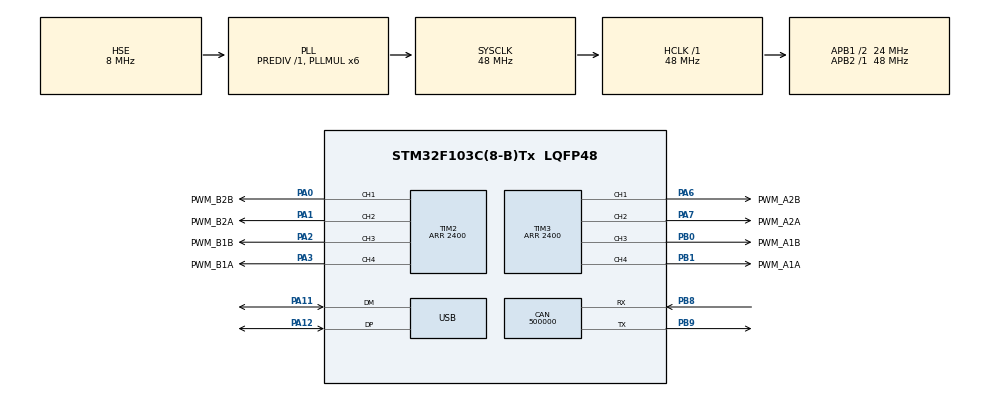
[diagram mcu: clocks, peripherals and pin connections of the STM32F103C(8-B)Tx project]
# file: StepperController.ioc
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CAN.CalculateBaudRate=500000
CAN.CalculateTimeBit=2000
CAN.CalculateTimeQuantum=666.6666666666666
Mcu.Family=STM32F1
Mcu.Name=STM32F103C(8-B)Tx
Mcu.Package=LQFP48
NVIC.PriorityGroup=NVIC_PRIORITYGROUP_4
NVIC.USB_LP_CAN1_RX0_IRQn=true\:0\:0\:false\:false\:true\:false\:true\:true
PA0-WKUP.GPIO_Label=PWM_B2B
PA0-WKUP.Signal=S_TIM2_CH1_ETR
PA1.GPIO_Label=PWM_B2A
PA1.Signal=S_TIM2_CH2
PA11.Mode=Device
PA11.Signal=USB_DM
PA12.Mode=Device
PA12.Signal=USB_DP
PA13.Mode=Serial_Wire
PA13.Signal=SYS_JTMS-SWDIO
PA14.Mode=Serial_Wire
PA14.Signal=SYS_JTCK-SWCLK
PA2.GPIO_Label=PWM_B1B
PA2.Signal=S_TIM2_CH3
PA3.GPIO_Label=PWM_B1A
PA3.Signal=S_TIM2_CH4
PA6.GPIO_Label=PWM_A2B
PA6.Signal=S_TIM3_CH1
PA7.GPIO_Label=PWM_A2A
PA7.Signal=S_TIM3_CH2
PB0.GPIO_Label=PWM_A1B
PB0.Signal=S_TIM3_CH3
PB1.GPIO_Label=PWM_A1A
PB1.Signal=S_TIM3_CH4
PB8.Mode=CAN_Activate
PB8.Signal=CAN_RX
PB9.Mode=CAN_Activate
PB9.Signal=CAN_TX
PD0-OSC_IN.Mode=HSE-External-Oscillator
PD0-OSC_IN.Signal=RCC_OSC_IN
PD1-OSC_OUT.Mode=HSE-External-Oscillator
PD1-OSC_OUT.Signal=RCC_OSC_OUT
ProjectManager.HeapSize=0x200
ProjectManager.StackSize=0x400
ProjectManager.TargetToolchain=STM32CubeIDE
RCC.AHBFreq_Value=48000000
RCC.APB1CLKDivider=RCC_HCLK_DIV2
RCC.APB1Freq_Value=24000000
RCC.APB1TimFreq_Value=48000000
RCC.APB2Freq_Value=48000000
RCC.APB2TimFreq_Value=48000000
RCC.HCLKFreq_Value=48000000
RCC.PLLMUL=RCC_PLL_MUL6
RCC.SYSCLKFreq_VALUE=48000000
RCC.SYSCLKSource=RCC_SYSCLKSOURCE_PLLCLK
RCC.USBFreq_Value=48000000
SH.S_TIM2_CH1_ETR.0=TIM2_CH1,PWM Generation1 CH1
SH.S_TIM2_CH2.0=TIM2_CH2,PWM Generation2 CH2
SH.S_TIM2_CH3.0=TIM2_CH3,PWM Generation3 CH3
SH.S_TIM2_CH4.0=TIM2_CH4,PWM Generation4 CH4
SH.S_TIM3_CH1.0=TIM3_CH1,PWM Generation1 CH1
SH.S_TIM3_CH2.0=TIM3_CH2,PWM Generation2 CH2
SH.S_TIM3_CH3.0=TIM3_CH3,PWM Generation3 CH3
SH.S_TIM3_CH4.0=TIM3_CH4,PWM Generation4 CH4
TIM2.Channel-PWM\ Generation1\ CH1=TIM_CHANNEL_1
TIM2.Channel-PWM\ Generation2\ CH2=TIM_CHANNEL_2
TIM2.Channel-PWM\ Generation3\ CH3=TIM_CHANNEL_3
TIM2.Channel-PWM\ Generation4\ CH4=TIM_CHANNEL_4
TIM2.Period=2400
TIM3.Channel-PWM\ Generation1\ CH1=TIM_CHANNEL_1
TIM3.Channel-PWM\ Generation2\ CH2=TIM_CHANNEL_2
TIM3.Channel-PWM\ Generation3\ CH3=TIM_CHANNEL_3
TIM3.Channel-PWM\ Generation4\ CH4=TIM_CHANNEL_4
TIM3.Period=2400
USB_DEVICE.CLASS_NAME_FS=CDC
USB_DEVICE.USBD_DEBUG_LEVEL=0
USB_DEVICE.USBD_SELF_POWERED=1
USB_DEVICE.VirtualMode=Cdc
USB_DEVICE.VirtualModeFS=Cdc_FS
VP_TIM2_VS_ClockSourceINT.Mode=Internal
VP_TIM3_VS_ClockSourceINT.Mode=Internal
VP_USB_DEVICE_VS_USB_DEVICE_CDC_FS.Mode=CDC_FS
board=custom

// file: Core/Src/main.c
/* USER CODE BEGIN Header */
/**
  ******************************************************************************
  * @file           : main.c
  * @brief          : Main program body
  ******************************************************************************
  * @attention
  *
  * Copyright (c) 2024 STMicroelectronics.
  * All rights reserved.
  *
  * This software is licensed under terms that can be found in the LICENSE file
  * in the root directory of this software component.
  * If no LICENSE file comes with this software, it is provided AS-IS.
  *
  ******************************************************************************
  */
/* USER CODE END Header */
#include "main.h"
#include "usb_device.h"

/* USER CODE BEGIN Includes */
#include "string.h"
#include "usbd_cdc_if.h"
/* USER CODE END Includes */

/* USER CODE BEGIN PD */
//This value is so we don't burn out the stepper with current (V=IR)

/* USER CODE END PD */

CAN_HandleTypeDef hcan;

TIM_HandleTypeDef htim2;
TIM_HandleTypeDef htim3;

/* USER CODE BEGIN PV */
const uint16_t DUTY_CYCLE=1800;
uint8_t phase=1;
signed int position = 0;
/* USER CODE END PV */

void SystemClock_Config(void);
static void MX_GPIO_Init(void);
static void MX_CAN_Init(void);
static void MX_TIM2_Init(void);
static void MX_TIM3_Init(void);
/* USER CODE BEGIN PFP */
void set_pwm(uint8_t coil, uint8_t channel, uint16_t duty_cycle);
void user_pwm_init();
void stop_motor();
void set_phase(uint8_t this_phase);
void fs_right();
void fs_left();
void fs_right_deg(uint16_t degrees);
void fs_left_deg(uint16_t degrees);
void zero_pos();
/* USER CODE END PFP */

int main(void)
{

  /* MCU Configuration--------------------------------------------------------*/

  /* Reset of all peripherals, Initializes the Flash interface and the Systick. */
  HAL_Init();

  /* Configure the system clock */
  SystemClock_Config();

  /* Initialize all configured peripherals */
  MX_GPIO_Init();
  MX_CAN_Init();
  MX_TIM2_Init();
  MX_TIM3_Init();
  MX_USB_DEVICE_Init();
  /* USER CODE BEGIN 2 */
  //Set up all PWM timers and set all duty cycles to 0
  user_pwm_init();
  stop_motor();

//  vcp_init(); //https://nefastor.com/microcontrollers/stm32/usb/stm32cube-usb-device-library/cdc-continued/
  uint8_t buf[1000];
  uint8_t done[1]={0xFF};
  int len=0;
  /* USER CODE END 2 */

  /* Infinite loop */
  /* USER CODE BEGIN WHILE */
  while (1)
  {

//	 CDC_Transmit_FS((uint8_t*)buf, strlen(buf));
//	 len = 0;
//	 while (len<=0){
//		 len = vcp_recv (buf, 1000);  // Read up to 1000 bytes
//		 if (buf[0]==0){
//			 fs_right_deg(buf[1]);
//		 }
//		 else if (buf[0]==1){
//			 fs_right_deg(buf[1]);
//		 }
//	  	 len = vcp_send (done, sizeof(char));
//
//	 }
	 HAL_Delay(500);
	 fs_right();
//	 HAL_Delay(500);
//	 fs_right_deg(90);
//	 HAL_Delay(500);
//	 zero_pos();
//	 HAL_Delay(500);
//	 fs_left_deg(90);
//	 HAL_Delay(500);
//	 fs_right_deg(270);
//	 HAL_Delay(500);
//	 fs_right_deg(90);
//	 HAL_Delay(500);
//	 zero_pos();
//	 HAL_Delay(5000);

    /* USER CODE END WHILE */

  }
}

void SystemClock_Config(void)
{
  RCC_OscInitTypeDef RCC_OscInitStruct = {0};
  RCC_ClkInitTypeDef RCC_ClkInitStruct = {0};
  RCC_PeriphCLKInitTypeDef PeriphClkInit = {0};

  /** Initializes the RCC Oscillators according to the specified parameters
  * in the RCC_OscInitTypeDef structure.
  */
  RCC_OscInitStruct.OscillatorType = RCC_OSCILLATORTYPE_HSE;
  RCC_OscInitStruct.HSEState = RCC_HSE_ON;
  RCC_OscInitStruct.HSEPredivValue = RCC_HSE_PREDIV_DIV1;
  RCC_OscInitStruct.HSIState = RCC_HSI_ON;
  RCC_OscInitStruct.PLL.PLLState = RCC_PLL_ON;
  RCC_OscInitStruct.PLL.PLLSource = RCC_PLLSOURCE_HSE;
  RCC_OscInitStruct.PLL.PLLMUL = RCC_PLL_MUL6;
  if (HAL_RCC_OscConfig(&RCC_OscInitStruct) != HAL_OK)
  {
    Error_Handler();
  }

  /** Initializes the CPU, AHB and APB buses clocks
  */
  RCC_ClkInitStruct.ClockType = RCC_CLOCKTYPE_HCLK|RCC_CLOCKTYPE_SYSCLK
                              |RCC_CLOCKTYPE_PCLK1|RCC_CLOCKTYPE_PCLK2;
  RCC_ClkInitStruct.SYSCLKSource = RCC_SYSCLKSOURCE_PLLCLK;
  RCC_ClkInitStruct.AHBCLKDivider = RCC_SYSCLK_DIV1;
  RCC_ClkInitStruct.APB1CLKDivider = RCC_HCLK_DIV2;
  RCC_ClkInitStruct.APB2CLKDivider = RCC_HCLK_DIV1;

  if (HAL_RCC_ClockConfig(&RCC_ClkInitStruct, FLASH_LATENCY_1) != HAL_OK)
  {
    Error_Handler();
  }
  PeriphClkInit.PeriphClockSelection = RCC_PERIPHCLK_USB;
  PeriphClkInit.UsbClockSelection = RCC_USBCLKSOURCE_PLL;
  if (HAL_RCCEx_PeriphCLKConfig(&PeriphClkInit) != HAL_OK)
  {
    Error_Handler();
  }
}

static void MX_CAN_Init(void)
{

  hcan.Instance = CAN1;
  hcan.Init.Prescaler = 16;
  hcan.Init.Mode = CAN_MODE_NORMAL;
  hcan.Init.SyncJumpWidth = CAN_SJW_1TQ;
  hcan.Init.TimeSeg1 = CAN_BS1_1TQ;
  hcan.Init.TimeSeg2 = CAN_BS2_1TQ;
  hcan.Init.TimeTriggeredMode = DISABLE;
  hcan.Init.AutoBusOff = DISABLE;
  hcan.Init.AutoWakeUp = DISABLE;
  hcan.Init.AutoRetransmission = DISABLE;
  hcan.Init.ReceiveFifoLocked = DISABLE;
  hcan.Init.TransmitFifoPriority = DISABLE;
  if (HAL_CAN_Init(&hcan) != HAL_OK)
  {
    Error_Handler();
  }

}

static void MX_TIM2_Init(void)
{

  TIM_ClockConfigTypeDef sClockSourceConfig = {0};
  TIM_MasterConfigTypeDef sMasterConfig = {0};
  TIM_OC_InitTypeDef sConfigOC = {0};

  htim2.Instance = TIM2;
  htim2.Init.Prescaler = 0;
  htim2.Init.CounterMode = TIM_COUNTERMODE_UP;
  htim2.Init.Period = 2400;
  htim2.Init.ClockDivision = TIM_CLOCKDIVISION_DIV1;
  htim2.Init.AutoReloadPreload = TIM_AUTORELOAD_PRELOAD_DISABLE;
  if (HAL_TIM_Base_Init(&htim2) != HAL_OK)
  {
    Error_Handler();
  }
  sClockSourceConfig.ClockSource = TIM_CLOCKSOURCE_INTERNAL;
  if (HAL_TIM_ConfigClockSource(&htim2, &sClockSourceConfig) != HAL_OK)
  {
    Error_Handler();
  }
  if (HAL_TIM_PWM_Init(&htim2) != HAL_OK)
  {
    Error_Handler();
  }
  sMasterConfig.MasterOutputTrigger = TIM_TRGO_RESET;
  sMasterConfig.MasterSlaveMode = TIM_MASTERSLAVEMODE_DISABLE;
  if (HAL_TIMEx_MasterConfigSynchronization(&htim2, &sMasterConfig) != HAL_OK)
  {
    Error_Handler();
  }
  sConfigOC.OCMode = TIM_OCMODE_PWM1;
  sConfigOC.Pulse = 0;
  sConfigOC.OCPolarity = TIM_OCPOLARITY_HIGH;
  sConfigOC.OCFastMode = TIM_OCFAST_DISABLE;
  if (HAL_TIM_PWM_ConfigChannel(&htim2, &sConfigOC, TIM_CHANNEL_1) != HAL_OK)
  {
    Error_Handler();
  }
  if (HAL_TIM_PWM_ConfigChannel(&htim2, &sConfigOC, TIM_CHANNEL_2) != HAL_OK)
  {
    Error_Handler();
  }
  if (HAL_TIM_PWM_ConfigChannel(&htim2, &sConfigOC, TIM_CHANNEL_3) != HAL_OK)
  {
    Error_Handler();
  }
  if (HAL_TIM_PWM_ConfigChannel(&htim2, &sConfigOC, TIM_CHANNEL_4) != HAL_OK)
  {
    Error_Handler();
  }
  HAL_TIM_MspPostInit(&htim2);

}

static void MX_TIM3_Init(void)
{

  TIM_ClockConfigTypeDef sClockSourceConfig = {0};
  TIM_MasterConfigTypeDef sMasterConfig = {0};
  TIM_OC_InitTypeDef sConfigOC = {0};

  htim3.Instance = TIM3;
  htim3.Init.Prescaler = 0;
  htim3.Init.CounterMode = TIM_COUNTERMODE_UP;
  htim3.Init.Period = 2400;
  htim3.Init.ClockDivision = TIM_CLOCKDIVISION_DIV1;
  htim3.Init.AutoReloadPreload = TIM_AUTORELOAD_PRELOAD_DISABLE;
  if (HAL_TIM_Base_Init(&htim3) != HAL_OK)
  {
    Error_Handler();
  }
  sClockSourceConfig.ClockSource = TIM_CLOCKSOURCE_INTERNAL;
  if (HAL_TIM_ConfigClockSource(&htim3, &sClockSourceConfig) != HAL_OK)
  {
    Error_Handler();
  }
  if (HAL_TIM_PWM_Init(&htim3) != HAL_OK)
  {
    Error_Handler();
  }
  sMasterConfig.MasterOutputTrigger = TIM_TRGO_RESET;
  sMasterConfig.MasterSlaveMode = TIM_MASTERSLAVEMODE_DISABLE;
  if (HAL_TIMEx_MasterConfigSynchronization(&htim3, &sMasterConfig) != HAL_OK)
  {
    Error_Handler();
  }
  sConfigOC.OCMode = TIM_OCMODE_PWM1;
  sConfigOC.Pulse = 0;
  sConfigOC.OCPolarity = TIM_OCPOLARITY_HIGH;
  sConfigOC.OCFastMode = TIM_OCFAST_DISABLE;
  if (HAL_TIM_PWM_ConfigChannel(&htim3, &sConfigOC, TIM_CHANNEL_1) != HAL_OK)
  {
    Error_Handler();
  }
  if (HAL_TIM_PWM_ConfigChannel(&htim3, &sConfigOC, TIM_CHANNEL_2) != HAL_OK)
  {
    Error_Handler();
  }
  if (HAL_TIM_PWM_ConfigChannel(&htim3, &sConfigOC, TIM_CHANNEL_3) != HAL_OK)
  {
    Error_Handler();
  }
  if (HAL_TIM_PWM_ConfigChannel(&htim3, &sConfigOC, TIM_CHANNEL_4) != HAL_OK)
  {
    Error_Handler();
  }
  HAL_TIM_MspPostInit(&htim3);

}

static void MX_GPIO_Init(void)
{

  /* GPIO Ports Clock Enable */
  __HAL_RCC_GPIOD_CLK_ENABLE();
  __HAL_RCC_GPIOA_CLK_ENABLE();
  __HAL_RCC_GPIOB_CLK_ENABLE();

}

/* USER CODE BEGIN 4 */
//Set individual channel duty cycle
void set_pwm(uint8_t coil, uint8_t channel, uint16_t duty_cycle){
	if (coil==1 && channel==1){
		TIM3->CCR1=duty_cycle;
	}
	else if (coil==1 && channel==2){
		TIM3->CCR2=duty_cycle;
	}
	else if (coil==1 && channel==3){
		TIM3->CCR3=duty_cycle;
	}
	else if (coil==1 && channel==4){
		TIM3->CCR4=duty_cycle;
	}
	else if (coil==2 && channel==1){
		TIM2->CCR1=duty_cycle;
	}
	else if (coil==2 && channel==2){
		TIM2->CCR2=duty_cycle;
	}
	else if (coil==2 && channel==3){
		TIM2->CCR3=duty_cycle;
	}
	else if (coil==2 && channel==4){
		TIM2->CCR4=duty_cycle;
	}

}
//Start timers for all channels
void user_pwm_init(){
	//Coil A
	HAL_TIM_PWM_Start(&htim3, TIM_CHANNEL_1);
	HAL_TIM_PWM_Start(&htim3, TIM_CHANNEL_2);
	HAL_TIM_PWM_Start(&htim3, TIM_CHANNEL_3);
	HAL_TIM_PWM_Start(&htim3, TIM_CHANNEL_4);
	//Coil B
	HAL_TIM_PWM_Start(&htim2, TIM_CHANNEL_1);
	HAL_TIM_PWM_Start(&htim2, TIM_CHANNEL_2);
	HAL_TIM_PWM_Start(&htim2, TIM_CHANNEL_3);
	HAL_TIM_PWM_Start(&htim2, TIM_CHANNEL_4);
}
//Set all duty cycles to 0
void stop_motor(){
	for (uint8_t coil=2;coil>0;coil--){
		  for (uint8_t ch=4;ch>0;ch--){
			  set_pwm(coil, ch, 0);
		 }
	}
}

void set_phase(uint8_t this_phase){
	stop_motor();
	if (this_phase==1){
		set_pwm(1, 1, DUTY_CYCLE);
		set_pwm(2, 1, DUTY_CYCLE);

		set_pwm(1, 4, DUTY_CYCLE);
		set_pwm(2, 4, DUTY_CYCLE);
	}
	else if (this_phase==2){
		set_pwm(1, 3, DUTY_CYCLE);
		set_pwm(2, 1, DUTY_CYCLE);
		set_pwm(2, 4, DUTY_CYCLE);
		set_pwm(1, 2, DUTY_CYCLE);
	}
	else if(this_phase==3){
		set_pwm(1, 3, DUTY_CYCLE);
		set_pwm(2, 3, DUTY_CYCLE);
		set_pwm(2, 2, DUTY_CYCLE);
		set_pwm(1, 2, DUTY_CYCLE);
	}
	else if (this_phase==4){
		set_pwm(1, 1, DUTY_CYCLE);
		set_pwm(2, 3, DUTY_CYCLE);
		set_pwm(1, 4, DUTY_CYCLE);
		set_pwm(2, 2, DUTY_CYCLE);

	}
	phase=this_phase;
}

//Turn motor right (A1,A4)(B1, B4) -> (A2,A3)(B1, B4) -> (A2,A3)(B2, B3) -> (A1,A4)(B2, B3)
void fs_right(){
	for (int i=4; i>0; i--){
		phase=phase%4;
		set_phase(++phase); //Increment phase

		//Hardware delay 8 MHz=0.12 uS per tick, 4300 ticks = 516us
		for (volatile uint32_t i =0; i<4300;i++);
	}
}
//Turn motor left (A1,A4)(B2, B3) -> (A2,A3)(B2, B3) -> (A2,A3)(B1, B4)-> (A1,A4)(B1, B4)
void fs_left(){
	for (int i=4; i>0; i--){
		if (phase<=1){
			set_phase(4); //Loop back to 4 after 1
		}
		else{
			set_phase(--phase); //Decrement phase
		}

		//Hardware delay 8 MHz=0.12 uS per tick, 4300 ticks = 516us
		for (volatile uint32_t i =0; i<4300;i++);
	}
}

void fs_right_deg(uint16_t degrees){
	uint16_t steps = (degrees/0.72); //10:1 gearbox so 0.18 degrees per step, fs_right and fs_left do 4 steps
	for (int i=steps; i>0; i--){
		fs_right();
//		for (volatile uint16_t i=0; i!=0x9C4; i++); //Hardware delay
	}
	position += degrees;
	stop_motor();

}

void fs_left_deg(uint16_t degrees){
	uint16_t steps = (degrees/0.72); //10:1 gearbox so 0.18 degrees per step, fs_right and fs_left do 4 steps
	for (int i=steps; i>0; i--){
		fs_left();
//		for (volatile uint16_t i=0; i!=0x9C4; i++); //Hardware delay
	}
	position -= degrees;
	stop_motor();

}

void zero_pos(){
	if (position>0){
		fs_left_deg(position);
	}
	else{
		fs_right_deg(position);
	}
}

/* USER CODE END 4 */

void Error_Handler(void)
{
  __disable_irq();
  while (1)
  {
  }
}
